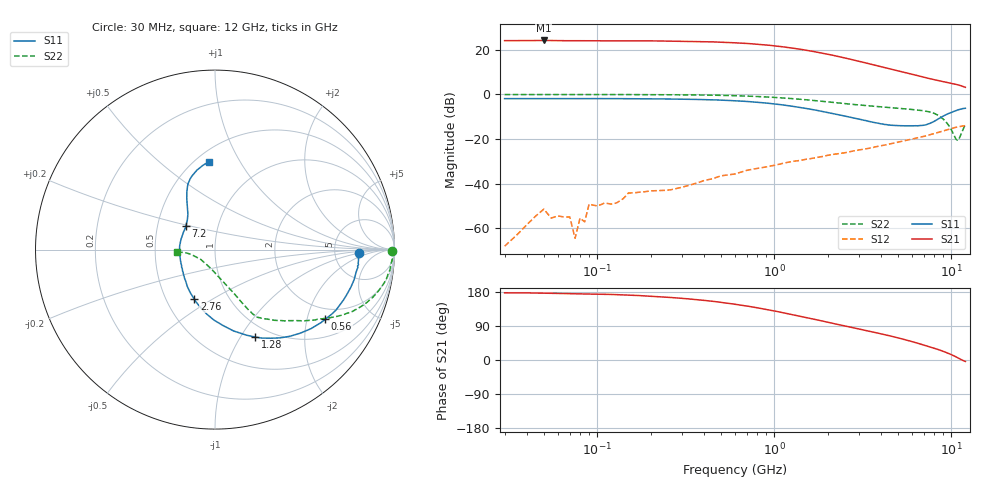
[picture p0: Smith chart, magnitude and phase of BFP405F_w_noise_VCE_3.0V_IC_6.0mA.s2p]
! Infineon Technologies  Discrete & RF Semiconductors
! BFP405F
! VCE =  3.0 V,  IC =  6.0 mA
! Common Emitter S-Parameters:  Nov 2015
# GHz  S  MA  R  50
!  f  S11  S21  S12  S22
! GHz  MAG  ANG  MAG  ANG  MAG  ANG  MAG  ANG
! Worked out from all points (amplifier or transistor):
!   239 points, 30 MHz to 12 GHz, reference 50 ohm
!   highest |S21| = 24.1 dB at 50 MHz (marker M1)
!   |S21| within 3 dB of that: start of sweep to 1.158 GHz
!   unconditionally stable (mu >= 1): 2.792 GHz to end of sweep
!   at 300 MHz: K = 0.26, MSG = 32.7 dB, |S12| = -41.6 dB
!   at 1.88 GHz: K = 0.73, MSG = 23.1 dB, |S12| = -27.8 dB
!   at 12 GHz: K = 1.44, MAG = 4.6 dB, |S12| = -14.0 dB
!   lowest NFmin = 1.38 dB at 450 MHz
!   S11 on the Smith chart (normalised r, x): 30 MHz: 8.88, -1.03; 560 MHz: 1.58, -2.59; 1.28 GHz: 0.85, -1.16; 2.76 GHz: 0.69, -0.42; 7.2 GHz: 0.70, +0.19; 12 GHz: 0.58, +0.74
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0.03  0.8 -1.5  15.88 177.3  0.0004 122.8  0.9876 -0.6
0.05  0.8024 -3.4  16.04 176.3  0.0027 23.5  0.9937 -1.2
0.07  0.8016 -4.1  15.86 174.9  0.0018 116.7  0.9887 -1.5
0.075  0.8014 -4.4  15.82 174.7  0.0006 50.6  0.9885 -1.7
0.08  0.8013 -4.8  15.79 174.5  0.0017 -24.9  0.9883 -1.9
0.085  0.8013 -5.2  15.82 174.4  0.0014 72.0  0.989 -2.1
0.09  0.8014 -5.5  15.84 174.4  0.0035 100.8  0.9897 -2.2
0.14  0.7983 -8.4  15.78 172.1  0.0046 86.7  0.9892 -3.6
0.24  0.7878 -14.4  15.56 166.1  0.0071 83.6  0.9815 -6.4
0.4  0.7624 -23.6  15.09 157.4  0.0117 81.7  0.9646 -10.5
0.56  0.7267 -32.3  14.38 149.2  0.0159 77.8  0.9385 -14.3
0.6  0.7175 -34.5  14.21 147.1  0.0165 77.3  0.932 -15.2
0.7  0.6926 -39.5  13.78 142.4  0.0199 73.5  0.9139 -17.3
0.9  0.638 -49.2  12.71 133.4  0.0237 69.7  0.8746 -21.2
1.28  0.5366 -65.2  10.77 119.2  0.0317 66.6  0.7977 -27.1
1.64  0.4572 -78.3  9.184 108.6  0.037 64.0  0.7333 -31.3
2.18  0.3664 -96.3  7.364 95.9  0.0456 61.1  0.6555 -37.0
2.76  0.2996 -112.6  5.958 85.6  0.0535 58.9  0.5966 -41.6
4.5  0.2051 -156.9  3.706 63.7  0.0772 55.5  0.5074 -50.6
7.2  0.2085 140.9  2.344 37.6  0.1178 47.1  0.4181 -59.4
10.8  0.4417 105.0  1.648 6.5  0.1854 29.6  0.0938 -127.7
12  0.4874 94.2  1.435 -3.9  0.1994 23.0  0.2112 -176.9
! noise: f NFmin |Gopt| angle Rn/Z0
0.45  1.38  0.34  6  0.33
0.9  1.39  0.31  11  0.33
1.5  1.45  0.29  18  0.31
1.9  1.48  0.27  24  0.3
2.4  1.63  0.26  33  0.32
3  1.7  0.24  45  0.31
3.5  1.75  0.22  54  0.28
4.5  1.9  0.17  62  0.22
5.5  2.12  0.09  71  0.09
